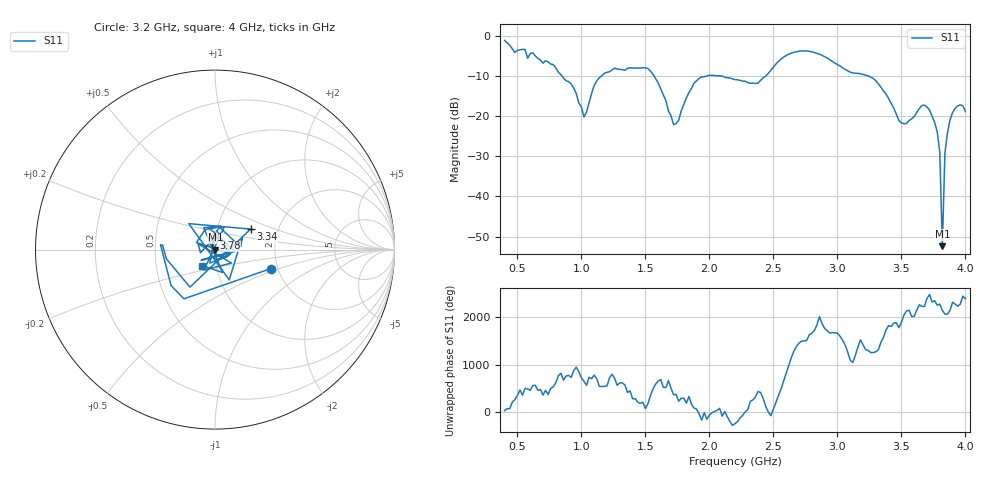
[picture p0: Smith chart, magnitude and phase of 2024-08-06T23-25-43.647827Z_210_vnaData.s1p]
!Created with skrf (http://scikit-rf.org).
# Hz S RI R 50.0
!freq ReS11 ImS11
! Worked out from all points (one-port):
!   181 points, 400 MHz to 4 GHz, reference 50 ohm
!   lowest |S11| = -52.4 dB at 3.82 GHz (marker M1), VSWR 1.00, Z = 50.2 - j0.0598 ohm
!   |S11| at or under -10 dB: 1.567 GHz to 1.986 GHz (418.7 MHz wide, 23.6 % of centre); 2.085 GHz to 2.441 GHz (355.9 MHz wide, 15.7 % of centre); 3.24 GHz to end of sweep (the widest 3 of 5)
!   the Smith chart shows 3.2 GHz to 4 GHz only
!   S11 on the Smith chart (normalised r, x): 3.2 GHz: 1.84, -0.44; 3.34 GHz: 1.45, +0.35; 3.78 GHz: 0.98, +0.12; 4 GHz: 0.86, -0.16
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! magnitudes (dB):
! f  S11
! 400 MHz  -1.2
! 860 MHz  -10.5
! 940 MHz  -13.0
! 1.02 GHz  -20.2
! 1.12 GHz  -11.2
! 1.3 GHz  -8.4
! 1.52 GHz  -8.2
! 1.6 GHz  -11.8
! 1.72 GHz  -22.1
! 1.76 GHz  -21.0
! 1.92 GHz  -10.6
! 2.2 GHz  -10.9
! 2.38 GHz  -11.8
! 2.66 GHz  -4.1
! 2.84 GHz  -4.4
! 3.1 GHz  -9.1
! 3.2 GHz  -9.6
! 3.34 GHz  -12.8
! 3.48 GHz  -21.1
! 3.56 GHz  -21.1
! 3.68 GHz  -17.3
! 3.78 GHz  -23.9
! 3.8 GHz  -29.1
! 3.82 GHz  -52.4
! 3.84 GHz  -29.2
! 3.86 GHz  -24.2
! 3.92 GHz  -18.1
! 4 GHz  -18.9
